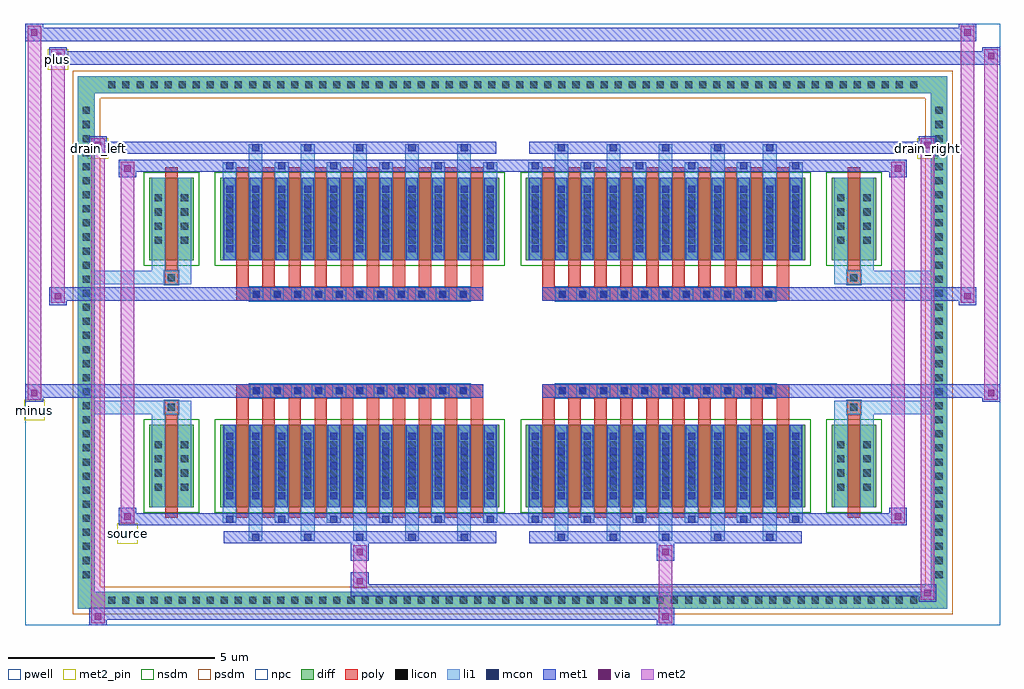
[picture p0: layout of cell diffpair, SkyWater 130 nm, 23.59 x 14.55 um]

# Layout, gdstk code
import gdstk
lib = gdstk.Library(unit=1e-6, precision=5e-09)
def R(c, l, rs):  # rectangles x0, y0, x1, y1
    for r in rs: c.add(gdstk.rectangle(r[:2], r[2:], *l))
def A(c, l, x, y, w, h, nx, ny, dx, dy):  # array of equal rectangles
    R(c, l, [(x+i*dx, y+j*dy, x+i*dx+w, y+j*dy+h) for i in range(nx) for j in range(ny)])
def P(c, l, *ps):  # polygons
    for p in ps: c.add(gdstk.Polygon(p, *l))
pwell = (64, 44)
diff = (65, 20)
poly = (66, 20)
licon = (66, 44)
li1 = (67, 20)
mcon = (67, 44)
met1 = (68, 20)
via = (68, 44)
met2_pin = (69, 16)
met2 = (69, 20)
nsdm = (93, 44)
psdm = (94, 20)
npc = (95, 20)

diffpair = lib.new_cell('diffpair')
R(diffpair, pwell, [(-11.78,-6.84,11.78,7.71), (-9.1,-5.03,-0.01,-0.805), (0.01,-5.03,9.1,-0.805), (-9.1,0.805,-0.01,5.03), (0.01,0.805,9.1,5.03)])
A(diffpair, diff, -9.895, -6.44, 0.41, 0.41, 58, 2, 0.34, 12.47)
A(diffpair, diff, -10.51, -5.815, 0.41, 0.41, 1, 34, 0, 0.34)
A(diffpair, diff, 10.1, -5.815, 0.41, 0.41, 1, 34, 0, 0.34)
R(diffpair, diff, [(-9.895,-6.44,9.895,-6.03), (-10.51,-5.815,-10.1,5.815), (10.1,-5.815,10.51,5.815), (-8.79,-3.985,-7.71,-1.985), (-7.07,-3.985,-0.32,-1.985), (0.32,-3.985,7.07,-1.985), (7.71,-3.985,8.79,-1.985), (-8.79,1.985,-7.71,3.985), (-7.07,1.985,-0.32,3.985), (0.32,1.985,7.07,3.985), (7.71,1.985,8.79,3.985), (-9.895,6.03,9.895,6.44)])
P(diffpair, diff, [(10.51,6.44),(-10.51,6.44),(-10.51,-6.03),(-10.1,-6.03),(-10.1,6.03),(10.1,6.03),(10.1,-6.03),(-10.1,-6.03),(-10.51,-6.03),(-10.51,-6.44),(10.51,-6.44)])
A(diffpair, poly, -6.68, -4.235, 0.3, 2.5, 10, 2, 0.63, 5.97)
A(diffpair, poly, 0.71, -4.235, 0.3, 2.5, 10, 2, 0.63, 5.97)
A(diffpair, poly, -6.68, -1.735, 0.3, 0.4, 10, 2, 0.63, 3.07)
A(diffpair, poly, 0.71, -1.735, 0.3, 0.4, 10, 2, 0.63, 3.07)
A(diffpair, poly, -6.36, -1.335, 0.33, 0.33, 11, 2, 0.5, 2.34)
A(diffpair, poly, 1.03, -1.335, 0.33, 0.33, 11, 2, 0.5, 2.34)
R(diffpair, poly, [(-8.4,-4.235,-8.1,-1.735), (8.1,-4.235,8.4,-1.735), (-8.415,-1.735,-8.085,-1.405), (-8.415,-1.735,-8.085,-1.405), (8.085,-1.735,8.415,-1.405), (8.085,-1.735,8.415,-1.405), (-6.68,-1.335,-0.71,-1.005), (0.71,-1.335,6.68,-1.005), (-6.68,1.005,-0.71,1.335), (0.71,1.005,6.68,1.335), (-8.415,1.405,-8.085,1.735), (-8.415,1.405,-8.085,1.735), (8.085,1.405,8.415,1.735), (8.085,1.405,8.415,1.735), (-8.4,1.735,-8.1,4.235), (8.1,1.735,8.4,4.235)])
A(diffpair, licon, -9.775, -6.32, 0.17, 0.17, 58, 2, 0.34, 12.47)
A(diffpair, licon, -10.39, -5.695, 0.17, 0.17, 1, 34, 0, 0.34)
A(diffpair, licon, 10.22, -5.695, 0.17, 0.17, 1, 34, 0, 0.34)
A(diffpair, licon, -8.65, -3.58, 0.17, 0.17, 1, 4, 0, 0.34)
A(diffpair, licon, -8.02, -3.58, 0.17, 0.17, 1, 4, 0, 0.34)
A(diffpair, licon, -6.93, -3.58, 0.17, 0.17, 11, 4, 0.63, 0.34)
A(diffpair, licon, 0.46, -3.58, 0.17, 0.17, 11, 4, 0.63, 0.34)
A(diffpair, licon, 7.85, -3.58, 0.17, 0.17, 1, 4, 0, 0.34)
A(diffpair, licon, 8.48, -3.58, 0.17, 0.17, 1, 4, 0, 0.34)
A(diffpair, licon, -6.28, -1.255, 0.17, 0.17, 11, 2, 0.5, 2.34)
A(diffpair, licon, 1.11, -1.255, 0.17, 0.17, 11, 2, 0.5, 2.34)
A(diffpair, licon, -8.65, 2.39, 0.17, 0.17, 1, 4, 0, 0.34)
A(diffpair, licon, -8.02, 2.39, 0.17, 0.17, 1, 4, 0, 0.34)
A(diffpair, licon, -6.93, 2.39, 0.17, 0.17, 11, 4, 0.63, 0.34)
A(diffpair, licon, 0.46, 2.39, 0.17, 0.17, 11, 4, 0.63, 0.34)
A(diffpair, licon, 7.85, 2.39, 0.17, 0.17, 1, 4, 0, 0.34)
A(diffpair, licon, 8.48, 2.39, 0.17, 0.17, 1, 4, 0, 0.34)
R(diffpair, licon, [(-8.335,-1.655,-8.165,-1.485), (8.165,-1.655,8.335,-1.485), (-8.335,1.485,-8.165,1.655), (8.165,1.485,8.335,1.655)])
A(diffpair, li1, -9.855, -6.4, 0.33, 0.33, 58, 2, 0.34, 12.47)
A(diffpair, li1, -10.47, -5.775, 0.33, 0.33, 1, 34, 0, 0.34)
A(diffpair, li1, 10.14, -5.775, 0.33, 0.33, 1, 34, 0, 0.34)
A(diffpair, li1, -6.38, -4.79, 0.33, 0.805, 5, 2, 1.26, 8.775)
A(diffpair, li1, -6.3, -4.79, 0.17, 0.17, 5, 2, 1.26, 9.41)
A(diffpair, li1, 1.01, -4.79, 0.33, 0.805, 5, 2, 1.26, 8.775)
A(diffpair, li1, 1.09, -4.79, 0.17, 0.17, 5, 2, 1.26, 9.41)
A(diffpair, li1, -7.01, -4.36, 0.33, 0.375, 6, 2, 1.26, 8.345)
A(diffpair, li1, -6.93, -4.36, 0.17, 0.17, 6, 2, 1.26, 8.55)
A(diffpair, li1, 0.38, -4.36, 0.33, 0.375, 6, 2, 1.26, 8.345)
A(diffpair, li1, 0.46, -4.36, 0.17, 0.17, 6, 2, 1.26, 8.55)
A(diffpair, li1, -7.01, -3.985, 0.33, 2, 11, 2, 0.63, 5.97)
A(diffpair, li1, 0.38, -3.985, 0.33, 2, 11, 2, 0.63, 5.97)
A(diffpair, li1, -6.93, -3.79, 0.17, 0.17, 11, 5, 0.63, 0.36)
A(diffpair, li1, -6.93, -3.79, 0.17, 1.61, 11, 2, 0.63, 5.97)
A(diffpair, li1, 0.46, -3.79, 0.17, 0.17, 11, 5, 0.63, 0.36)
A(diffpair, li1, 0.46, -3.79, 0.17, 1.61, 11, 2, 0.63, 5.97)
A(diffpair, li1, -8.73, -3.66, 0.33, 0.33, 1, 4, 0, 0.34)
A(diffpair, li1, -8.1, -3.66, 0.33, 0.33, 1, 4, 0, 0.34)
A(diffpair, li1, -7.01, -3.66, 0.33, 0.33, 11, 4, 0.63, 0.34)
A(diffpair, li1, 0.38, -3.66, 0.33, 0.33, 11, 4, 0.63, 0.34)
A(diffpair, li1, 7.77, -3.66, 0.33, 0.33, 1, 4, 0, 0.34)
A(diffpair, li1, 8.4, -3.66, 0.33, 0.33, 1, 4, 0, 0.34)
A(diffpair, li1, -6.36, -1.335, 0.33, 0.33, 11, 2, 0.5, 2.34)
A(diffpair, li1, 1.03, -1.335, 0.33, 0.33, 11, 2, 0.5, 2.34)
A(diffpair, li1, -6.93, 2.18, 0.17, 0.17, 11, 5, 0.63, 0.36)
A(diffpair, li1, 0.46, 2.18, 0.17, 0.17, 11, 5, 0.63, 0.36)
A(diffpair, li1, -8.73, 2.31, 0.33, 0.33, 1, 4, 0, 0.34)
A(diffpair, li1, -8.1, 2.31, 0.33, 0.33, 1, 4, 0, 0.34)
A(diffpair, li1, -7.01, 2.31, 0.33, 0.33, 11, 4, 0.63, 0.34)
A(diffpair, li1, 0.38, 2.31, 0.33, 0.33, 11, 4, 0.63, 0.34)
A(diffpair, li1, 7.77, 2.31, 0.33, 0.33, 1, 4, 0, 0.34)
A(diffpair, li1, 8.4, 2.31, 0.33, 0.33, 1, 4, 0, 0.34)
R(diffpair, li1, [(-10.51,-6.44,-10.1,-6.03), (-10.51,-6.44,-10.1,-6.03), (-10.1,-6.44,10.1,-6.03), (10.1,-6.44,10.51,-6.03), (10.1,-6.44,10.51,-6.03), (-10.51,-6.03,-10.1,6.03), (10.1,-6.03,10.51,6.03), (-8.73,-3.985,-8.4,-1.985), (-8.1,-3.985,-7.77,-1.985), (7.77,-3.985,8.1,-1.985), (8.4,-3.985,8.73,-1.985), (-8.73,-1.985,-8.4,-1.405), (-8.1,-1.985,-7.77,-1.405), (7.77,-1.985,8.1,-1.405), (8.4,-1.985,8.73,-1.405), (-10.51,-1.735,-8.415,-1.405), (-8.73,-1.735,-8.415,-1.405), (-8.415,-1.735,-8.085,-1.405), (-8.085,-1.735,-7.77,-1.405), (7.77,-1.735,8.085,-1.405), (8.085,-1.735,8.415,-1.405), (8.085,-1.735,10.51,-1.405), (8.415,-1.735,8.73,-1.405), (-10.51,1.405,-8.415,1.735), (-8.73,1.405,-8.415,1.735), (-8.73,1.405,-8.4,1.985), (-8.415,1.405,-8.085,1.735), (-8.1,1.405,-7.77,1.985), (-8.085,1.405,-7.77,1.735), (7.77,1.405,8.085,1.735), (7.77,1.405,8.1,1.985), (8.085,1.405,8.415,1.735), (8.085,1.405,10.51,1.735), (8.4,1.405,8.73,1.985), (8.415,1.405,8.73,1.735), (-8.73,1.985,-8.4,3.985), (-8.1,1.985,-7.77,3.985), (7.77,1.985,8.1,3.985), (8.4,1.985,8.73,3.985), (-10.51,6.03,-10.1,6.44), (-10.51,6.03,-10.1,6.44), (-10.1,6.03,10.1,6.44), (10.1,6.03,10.51,6.44), (10.1,6.03,10.51,6.44)])
A(diffpair, mcon, -6.3, -4.79, 0.17, 0.17, 5, 2, 1.26, 9.41)
A(diffpair, mcon, 1.09, -4.79, 0.17, 0.17, 5, 2, 1.26, 9.41)
A(diffpair, mcon, -6.93, -4.36, 0.17, 0.17, 6, 2, 1.26, 8.55)
A(diffpair, mcon, 0.46, -4.36, 0.17, 0.17, 6, 2, 1.26, 8.55)
A(diffpair, mcon, -6.93, -3.79, 0.17, 0.17, 11, 5, 0.63, 0.36)
A(diffpair, mcon, 0.46, -3.79, 0.17, 0.17, 11, 5, 0.63, 0.36)
A(diffpair, mcon, -6.28, -1.255, 0.17, 0.17, 11, 2, 0.5, 2.34)
A(diffpair, mcon, 1.11, -1.255, 0.17, 0.17, 11, 2, 0.5, 2.34)
A(diffpair, mcon, -6.93, 2.18, 0.17, 0.17, 11, 5, 0.63, 0.36)
A(diffpair, mcon, 0.46, 2.18, 0.17, 0.17, 11, 5, 0.63, 0.36)
A(diffpair, met1, -6.36, -4.85, 0.29, 0.29, 5, 2, 1.26, 9.41)
A(diffpair, met1, 1.03, -4.85, 0.29, 0.29, 5, 2, 1.26, 9.41)
A(diffpair, met1, -6.99, -4.42, 0.29, 0.29, 6, 2, 1.26, 8.55)
A(diffpair, met1, 0.4, -4.42, 0.29, 0.29, 6, 2, 1.26, 8.55)
A(diffpair, met1, -6.99, -3.985, 0.29, 2, 11, 2, 0.63, 5.97)
A(diffpair, met1, 0.4, -3.985, 0.29, 2, 11, 2, 0.63, 5.97)
A(diffpair, met1, -6.99, -3.85, 0.29, 0.29, 11, 5, 0.63, 0.36)
A(diffpair, met1, 0.4, -3.85, 0.29, 0.29, 11, 5, 0.63, 0.36)
A(diffpair, met1, -6.34, -1.315, 0.29, 0.29, 11, 2, 0.5, 2.34)
A(diffpair, met1, 1.05, -1.315, 0.29, 0.29, 11, 2, 0.5, 2.34)
A(diffpair, met1, -6.99, 2.12, 0.29, 0.29, 11, 5, 0.63, 0.36)
A(diffpair, met1, 0.4, 2.12, 0.29, 0.29, 11, 5, 0.63, 0.36)
R(diffpair, met1, [(-10.24,-6.84,-9.81,-6.41), (3.48,-6.84,3.91,-6.41), (-10.24,-6.7,3.91,-6.41), (9.81,-6.27,10.24,-5.84), (-3.91,-6.13,10.24,-5.84), (-3.91,-5.99,-3.48,-5.56), (-3.91,-5.28,-3.48,-4.85), (3.48,-5.28,3.91,-4.85), (-6.99,-4.85,-0.4,-4.56), (0.4,-4.85,6.99,-4.56), (-9.53,-4.42,-9.1,-3.99), (-9.53,-4.42,-6.99,-4.13), (-6.99,-4.42,-0.4,-4.13), (-0.4,-4.42,0.4,-4.13), (0.4,-4.42,6.99,-4.13), (6.99,-4.42,9.53,-4.13), (9.1,-4.42,9.53,-3.99), (-11.78,-1.435,-11.35,-1.005), (11.35,-1.435,11.78,-1.005), (-11.78,-1.335,-0.71,-1.005), (-6.68,-1.335,-0.71,-1.005), (0.71,-1.335,6.68,-1.005), (0.71,-1.335,11.78,-1.005), (-11.21,0.905,-10.78,1.335), (10.78,0.905,11.21,1.335), (-11.21,1.005,-6.68,1.335), (-6.68,1.005,-0.71,1.335), (0.71,1.005,6.68,1.335), (6.68,1.005,11.21,1.335), (-9.53,3.99,-9.1,4.42), (9.1,3.99,9.53,4.42), (-9.53,4.13,-6.99,4.42), (-6.99,4.13,-0.4,4.42), (-0.4,4.13,0.4,4.42), (0.4,4.13,6.99,4.42), (6.99,4.13,9.53,4.42), (-10.24,4.56,-9.81,4.99), (-10.24,4.56,-6.99,4.85), (-6.99,4.56,-0.4,4.85), (0.4,4.56,6.99,4.85), (6.99,4.56,10.24,4.85), (9.81,4.56,10.24,4.99), (-11.21,6.71,-10.78,7.14), (-11.21,6.71,-9.1,7.04), (-9.1,6.71,9.1,7.04), (9.1,6.71,11.78,7.04), (11.35,6.71,11.78,7.14), (-11.78,7.28,-11.35,7.71), (-11.78,7.28,-9.1,7.61), (-9.1,7.28,9.1,7.61), (9.1,7.28,11.21,7.61), (10.78,7.28,11.21,7.71)])
R(diffpair, via, [(-10.1,-6.7,-9.95,-6.55), (3.62,-6.7,3.77,-6.55), (9.95,-6.13,10.1,-5.98), (-3.77,-5.85,-3.62,-5.7), (-3.77,-5.14,-3.62,-4.99), (3.62,-5.14,3.77,-4.99), (-9.39,-4.28,-9.24,-4.13), (9.24,-4.28,9.39,-4.13), (-11.64,-1.295,-11.49,-1.145), (11.49,-1.295,11.64,-1.145), (-11.07,1.045,-10.92,1.195), (10.92,1.045,11.07,1.195), (-9.39,4.13,-9.24,4.28), (9.24,4.13,9.39,4.28), (-10.1,4.7,-9.95,4.85), (9.95,4.7,10.1,4.85), (-11.07,6.85,-10.92,7), (11.49,6.85,11.64,7), (-11.64,7.42,-11.49,7.57), (10.92,7.42,11.07,7.57)])
R(diffpair, met2_pin, [(-9.565,-4.87,-9.065,-4.37), (-11.815,-1.885,-11.315,-1.385), (-10.275,4.44,-9.775,4.94), (9.775,4.44,10.275,4.94), (-11.245,6.59,-10.745,7.09)])
R(diffpair, met2, [(-10.19,-6.79,-9.86,-6.46), (-10.19,-6.79,-9.86,4.94), (3.53,-6.79,3.86,-6.46), (3.53,-6.46,3.86,-5.23), (9.86,-6.22,10.19,-5.89), (9.86,-6.22,10.19,4.94), (-3.86,-5.94,-3.53,-5.61), (-3.86,-5.61,-3.53,-5.23), (-3.86,-5.23,-3.53,-4.9), (3.53,-5.23,3.86,-4.9), (-9.48,-4.37,-9.15,-4.04), (-9.48,-4.37,-9.15,4.37), (9.15,-4.37,9.48,-4.04), (9.15,-4.37,9.48,4.37), (-11.73,-1.385,-11.4,-1.055), (-11.73,-1.385,-11.4,7.66), (11.4,-1.385,11.73,-1.055), (11.4,-1.385,11.73,7.09), (-11.16,0.955,-10.83,1.285), (-11.16,0.955,-10.83,7.09), (10.83,0.955,11.16,1.285), (10.83,0.955,11.16,7.66), (-9.48,4.04,-9.15,4.37), (9.15,4.04,9.48,4.37), (-10.19,4.61,-9.86,4.94), (9.86,4.61,10.19,4.94), (-11.16,6.76,-10.83,7.09), (11.4,6.76,11.73,7.09), (-11.73,7.33,-11.4,7.66), (10.83,7.33,11.16,7.66)])
P(diffpair, met2, [(11.73,-1.385),(11.73,-1.385),(11.73,-1.055),(11.73,-1.055)],
  [(11.73,6.76),(11.73,6.76),(11.73,7.09),(11.73,7.09)],
  [(-11.4,-1.385),(-11.4,-1.385),(-11.4,-1.055),(-11.4,-1.055)],
  [(-11.4,7.33),(-11.4,7.33),(-11.4,7.66),(-11.4,7.66)],
  [(11.16,0.955),(11.16,0.955),(11.16,1.285),(11.16,1.285)],
  [(11.16,7.33),(11.16,7.33),(11.16,7.66),(11.16,7.66)],
  [(-10.83,0.955),(-10.83,0.955),(-10.83,1.285),(-10.83,1.285)],
  [(-10.83,6.76),(-10.83,6.76),(-10.83,7.09),(-10.83,7.09)],
  [(-9.86,-6.79),(-9.86,-6.79),(-9.86,-6.46),(-9.86,-6.46)],
  [(-9.86,4.61),(-9.86,4.61),(-9.86,4.94),(-9.86,4.94)],
  [(10.19,-6.22),(10.19,-6.22),(10.19,-5.89),(10.19,-5.89)],
  [(10.19,4.61),(10.19,4.61),(10.19,4.94),(10.19,4.94)],
  [(-9.15,-4.37),(-9.15,-4.37),(-9.15,-4.04),(-9.15,-4.04)],
  [(-9.15,4.04),(-9.15,4.04),(-9.15,4.37),(-9.15,4.37)],
  [(9.48,-4.37),(9.48,-4.37),(9.48,-4.04),(9.48,-4.04)],
  [(9.48,4.04),(9.48,4.04),(9.48,4.37),(9.48,4.37)])
R(diffpair, nsdm, [(-8.92,-4.115,-7.58,-1.855), (-7.2,-4.115,-0.19,-1.855), (0.19,-4.115,7.2,-1.855), (7.58,-4.115,8.92,-1.855), (-8.92,1.855,-7.58,4.115), (-7.2,1.855,-0.19,4.115), (0.19,1.855,7.2,4.115), (7.58,1.855,8.92,4.115)])
P(diffpair, psdm, [(10.64,6.57),(-10.64,6.57),(-10.64,-5.9),(-9.97,-5.9),(-9.97,5.9),(9.97,5.9),(9.97,-5.9),(-9.97,-5.9),(-10.64,-5.9),(-10.64,-6.57),(10.64,-6.57)])
A(diffpair, npc, -6.38, -1.355, 0.37, 0.37, 11, 2, 0.5, 2.34)
A(diffpair, npc, 1.01, -1.355, 0.37, 0.37, 11, 2, 0.5, 2.34)
R(diffpair, npc, [(-8.435,-1.755,-8.065,-1.385), (8.065,-1.755,8.435,-1.385), (-6.38,-1.355,-5.51,-0.985), (-6.38,-1.355,-5.51,-0.985), (-5.88,-1.355,-5.01,-0.985), (-5.88,-1.355,-5.01,-0.985), (-5.38,-1.355,-4.51,-0.985), (-5.38,-1.355,-4.51,-0.985), (-4.88,-1.355,-4.01,-0.985), (-4.88,-1.355,-4.01,-0.985), (-4.38,-1.355,-3.51,-0.985), (-4.38,-1.355,-3.51,-0.985), (-3.88,-1.355,-3.01,-0.985), (-3.88,-1.355,-3.01,-0.985), (-3.38,-1.355,-2.51,-0.985), (-3.38,-1.355,-2.51,-0.985), (-2.88,-1.355,-2.01,-0.985), (-2.88,-1.355,-2.01,-0.985), (-2.38,-1.355,-1.51,-0.985), (-2.38,-1.355,-1.51,-0.985), (-1.88,-1.355,-1.01,-0.985), (-1.88,-1.355,-1.01,-0.985), (1.01,-1.355,1.88,-0.985), (1.01,-1.355,1.88,-0.985), (1.51,-1.355,2.38,-0.985), (1.51,-1.355,2.38,-0.985), (2.01,-1.355,2.88,-0.985), (2.01,-1.355,2.88,-0.985), (2.51,-1.355,3.38,-0.985), (2.51,-1.355,3.38,-0.985), (3.01,-1.355,3.88,-0.985), (3.01,-1.355,3.88,-0.985), (3.51,-1.355,4.38,-0.985), (3.51,-1.355,4.38,-0.985), (4.01,-1.355,4.88,-0.985), (4.01,-1.355,4.88,-0.985), (4.51,-1.355,5.38,-0.985), (4.51,-1.355,5.38,-0.985), (5.01,-1.355,5.88,-0.985), (5.01,-1.355,5.88,-0.985), (5.51,-1.355,6.38,-0.985), (5.51,-1.355,6.38,-0.985), (-6.38,0.985,-5.51,1.355), (-6.38,0.985,-5.51,1.355), (-5.88,0.985,-5.01,1.355), (-5.88,0.985,-5.01,1.355), (-5.38,0.985,-4.51,1.355), (-5.38,0.985,-4.51,1.355), (-4.88,0.985,-4.01,1.355), (-4.88,0.985,-4.01,1.355), (-4.38,0.985,-3.51,1.355), (-4.38,0.985,-3.51,1.355), (-3.88,0.985,-3.01,1.355), (-3.88,0.985,-3.01,1.355), (-3.38,0.985,-2.51,1.355), (-3.38,0.985,-2.51,1.355), (-2.88,0.985,-2.01,1.355), (-2.88,0.985,-2.01,1.355), (-2.38,0.985,-1.51,1.355), (-2.38,0.985,-1.51,1.355), (-1.88,0.985,-1.01,1.355), (-1.88,0.985,-1.01,1.355), (1.01,0.985,1.88,1.355), (1.01,0.985,1.88,1.355), (1.51,0.985,2.38,1.355), (1.51,0.985,2.38,1.355), (2.01,0.985,2.88,1.355), (2.01,0.985,2.88,1.355), (2.51,0.985,3.38,1.355), (2.51,0.985,3.38,1.355), (3.01,0.985,3.88,1.355), (3.01,0.985,3.88,1.355), (3.51,0.985,4.38,1.355), (3.51,0.985,4.38,1.355), (4.01,0.985,4.88,1.355), (4.01,0.985,4.88,1.355), (4.51,0.985,5.38,1.355), (4.51,0.985,5.38,1.355), (5.01,0.985,5.88,1.355), (5.01,0.985,5.88,1.355), (5.51,0.985,6.38,1.355), (5.51,0.985,6.38,1.355), (-8.435,1.385,-8.065,1.755), (8.065,1.385,8.435,1.755)])
diffpair.add(gdstk.Label('minus', (-11.565,-1.635), layer=69, texttype=5))
diffpair.add(gdstk.Label('drain_right', (10.025,4.69), layer=69, texttype=5))
diffpair.add(gdstk.Label('drain_left', (-10.025,4.69), layer=69, texttype=5))
diffpair.add(gdstk.Label('source', (-9.315,-4.62), layer=69, texttype=5))
diffpair.add(gdstk.Label('plus', (-10.995,6.84), layer=69, texttype=5))

lib.write_gds('diffpair.gds')
